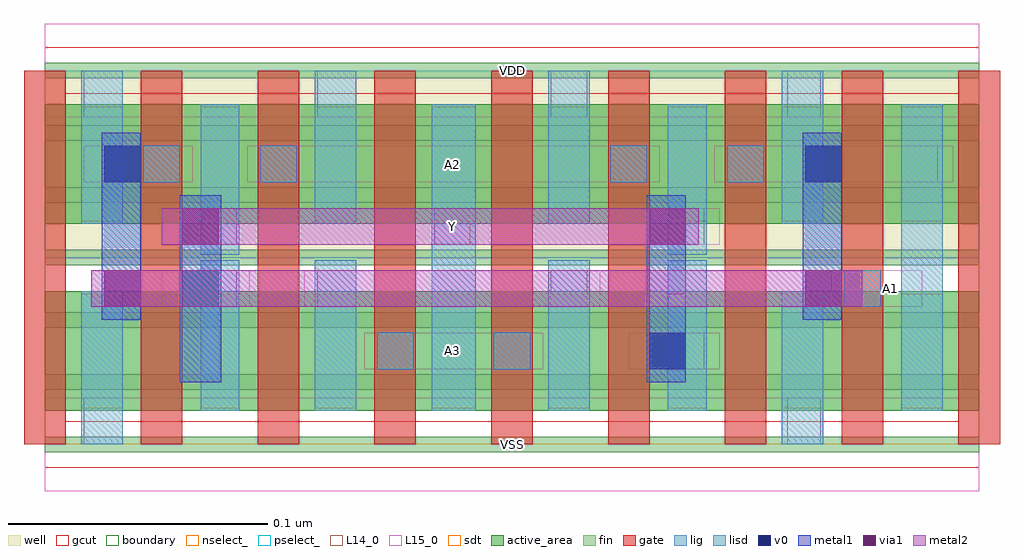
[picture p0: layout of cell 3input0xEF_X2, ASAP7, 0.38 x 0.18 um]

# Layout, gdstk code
import gdstk
lib = gdstk.Library(unit=1e-6, precision=1e-09)
def R(c, l, rs):  # rectangles x0, y0, x1, y1
    for r in rs: c.add(gdstk.rectangle(r[:2], r[2:], *l))
def A(c, l, x, y, w, h, nx, ny, dx, dy):  # array of equal rectangles
    R(c, l, [(x+i*dx, y+j*dy, x+i*dx+w, y+j*dy+h) for i in range(nx) for j in range(ny)])
def P(c, l, *ps):  # polygons
    for p in ps: c.add(gdstk.Polygon(p, *l))
well = (1, 0)
fin = (2, 0)
gate = (7, 0)
gcut = (10, 0)
active_area = (11, 0)
nselect_ = (12, 0)
pselect_ = (13, 0)
L14_0 = (14, 0)
L15_0 = (15, 0)
lig = (16, 0)
lisd = (17, 0)
v0 = (18, 0)
metal1 = (19, 0)
metal2 = (20, 0)
via1 = (21, 0)
sdt = (88, 0)
boundary = (100, 0)

c_3input0xef_x2 = lib.new_cell('3input0xEF_X2')
R(c_3input0xef_x2, well, [(0,0.072,0.36,0.144)])
A(c_3input0xef_x2, fin, 0, -0.003, 0.36, 0.006, 1, 7, 0, 0.024)
A(c_3input0xef_x2, gate, -0.008, 0, 0.016, 0.144, 9, 1, 0.045, 0)
P(c_3input0xef_x2, gcut, [(0,-0.009),(0,0),(-0.008,0),(-0.008,0.135),(0.008,0.135),(0.008,0.009),(0.352,0.009),(0.352,0.135),(-0.008,0.135),(-0.008,0.144),(0,0.144),(0,0.153),(0.36,0.153),(0.36,0.144),(0.368,0.144),(0.368,0),(0.36,0),(0.36,-0.009)])
R(c_3input0xef_x2, active_area, [(0,0.013,0.36,0.059), (0,0.085,0.36,0.131)])
R(c_3input0xef_x2, nselect_, [(0,0,0.36,0.072)])
R(c_3input0xef_x2, pselect_, [(0,0.072,0.36,0.144)])
A(c_3input0xef_x2, L14_0, 0.06, 0.077, 0.014, 0.014, 3, 1, 0.09, 0)
R(c_3input0xef_x2, L14_0, [(0.015,0,0.03,0.018), (0.286,0,0.299,0.018), (0.128,0.029,0.142,0.043), (0.173,0.029,0.187,0.043), (0.24,0.029,0.254,0.043), (0.06,0.053,0.074,0.067), (0.105,0.053,0.12,0.067), (0.195,0.053,0.209,0.067), (0.308,0.053,0.322,0.067), (0.038,0.101,0.052,0.115), (0.083,0.101,0.097,0.115), (0.218,0.101,0.232,0.115), (0.263,0.101,0.277,0.115), (0.33,0.101,0.344,0.115), (0.015,0.126,0.03,0.144), (0.105,0.126,0.12,0.144), (0.195,0.126,0.209,0.144), (0.286,0.126,0.299,0.144)])
R(c_3input0xef_x2, L15_0, [(0,-0.018,0.36,0.018), (0.123,0.029,0.192,0.043), (0.225,0.029,0.26,0.043), (0.045,0.053,0.079,0.067), (0.1,0.053,0.214,0.067), (0.303,0.053,0.338,0.067), (0.055,0.077,0.26,0.091), (0.015,0.101,0.057,0.115), (0.078,0.101,0.237,0.115), (0.258,0.101,0.35,0.115), (0,0.126,0.36,0.162)])
R(c_3input0xef_x2, lig, [(0.128,0.029,0.142,0.043), (0.173,0.029,0.187,0.043), (0.308,0.053,0.322,0.067), (0.038,0.101,0.052,0.115), (0.083,0.101,0.097,0.115), (0.218,0.101,0.232,0.115), (0.263,0.101,0.277,0.115)])
A(c_3input0xef_x2, lisd, 0.014, 0.085, 0.016, 0.059, 4, 1, 0.09, 0)
R(c_3input0xef_x2, lisd, [(0.014,0,0.03,0.059), (0.284,0,0.3,0.059), (0.06,0.013,0.075,0.071), (0.104,0.013,0.12,0.071), (0.149,0.013,0.166,0.131), (0.194,0.013,0.21,0.071), (0.24,0.013,0.255,0.071), (0.33,0.013,0.346,0.131), (0.06,0.073,0.075,0.131), (0.24,0.073,0.255,0.131)])
R(c_3input0xef_x2, v0, [(0.233,0.029,0.247,0.043), (0.053,0.053,0.067,0.067), (0.023,0.101,0.037,0.115), (0.293,0.101,0.307,0.115)])
R(c_3input0xef_x2, metal1, [(0.052,0.024,0.068,0.096), (0.232,0.024,0.247,0.096), (0.022,0.048,0.037,0.12), (0.292,0.048,0.307,0.12)])
R(c_3input0xef_x2, metal2, [(0.018,0.053,0.315,0.067), (0.045,0.077,0.252,0.091)])
R(c_3input0xef_x2, via1, [(0.023,0.053,0.037,0.067), (0.293,0.053,0.307,0.067), (0.053,0.077,0.067,0.091), (0.233,0.077,0.247,0.091)])
A(c_3input0xef_x2, sdt, 0.014, 0.014, 0.016, 0.044, 4, 2, 0.09, 0.072)
R(c_3input0xef_x2, sdt, [(0.06,0.014,0.075,0.058), (0.149,0.014,0.166,0.058), (0.24,0.014,0.255,0.058), (0.33,0.014,0.346,0.058), (0.06,0.086,0.075,0.13), (0.149,0.086,0.166,0.13), (0.24,0.086,0.255,0.13), (0.33,0.086,0.346,0.13)])
R(c_3input0xef_x2, boundary, [(0,0,0.36,0.144)])
c_3input0xef_x2.add(gdstk.Label('Y', (0.157,0.084), layer=15, texttype=251))
c_3input0xef_x2.add(gdstk.Label('VSS', (0.18,0), layer=15, texttype=251))
c_3input0xef_x2.add(gdstk.Label('VDD', (0.18,0.144), layer=15, texttype=251))
c_3input0xef_x2.add(gdstk.Label('A3', (0.157,0.036), layer=15, texttype=251))
c_3input0xef_x2.add(gdstk.Label('VSS', (0.18,0), layer=15, texttype=251))
c_3input0xef_x2.add(gdstk.Label('VDD', (0.18,0.144), layer=15, texttype=251))
c_3input0xef_x2.add(gdstk.Label('A1', (0.326,0.06), layer=15, texttype=251))
c_3input0xef_x2.add(gdstk.Label('VSS', (0.18,0), layer=15, texttype=251))
c_3input0xef_x2.add(gdstk.Label('VDD', (0.18,0.144), layer=15, texttype=251))
c_3input0xef_x2.add(gdstk.Label('A2', (0.157,0.108), layer=15, texttype=251))
c_3input0xef_x2.add(gdstk.Label('VSS', (0.18,0), layer=15, texttype=251))
c_3input0xef_x2.add(gdstk.Label('VDD', (0.18,0.144), layer=15, texttype=251))
c_3input0xef_x2.add(gdstk.Label('VSS', (0.18,0), layer=3, texttype=251))
c_3input0xef_x2.add(gdstk.Label('VSS', (0.18,0), layer=3, texttype=251))
c_3input0xef_x2.add(gdstk.Label('VSS', (0.18,0), layer=3, texttype=251))
c_3input0xef_x2.add(gdstk.Label('VSS', (0.18,0), layer=3, texttype=251))
c_3input0xef_x2.add(gdstk.Label('VDD', (0.18,0.144), layer=1, texttype=251))
c_3input0xef_x2.add(gdstk.Label('VDD', (0.18,0.144), layer=1, texttype=251))
c_3input0xef_x2.add(gdstk.Label('VDD', (0.18,0.144), layer=1, texttype=251))
c_3input0xef_x2.add(gdstk.Label('VDD', (0.18,0.144), layer=1, texttype=251))

lib.write_gds('3input0xEF_X2.gds')
